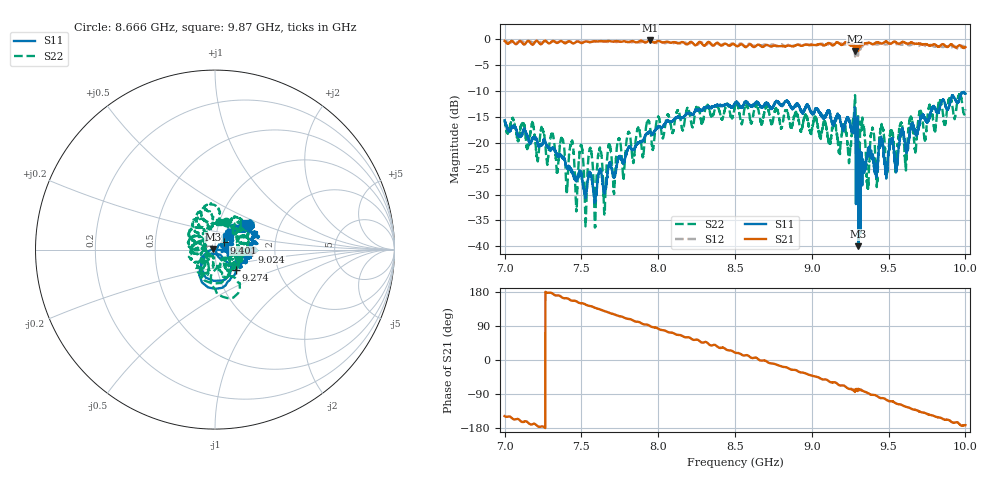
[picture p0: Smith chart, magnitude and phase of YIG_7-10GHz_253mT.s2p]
#  HZ  S  RI  R  50.0
! Rohde & Schwarz ZVL13 2Ports - Version 3.31 - 1303.6509k13 SN: 101088
! Date: 2023-03-06 15:31:30
! Data & Calibration Information:
! Trc4:S11(TOSM) Trc2:S21(TOSM) Trc3:S12(TOSM) Trc5:S22(TOSM)
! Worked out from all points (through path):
!   4000 points, 7 GHz to 10 GHz, reference 50 ohm
!   highest |S21| = -0.33 dB at 7.945 GHz (marker M1); lowest = -2.4 dB at 9.282 GHz (marker M2)
!   group delay of S21, straight-line fit = 357 ps
!   lowest |S11| = -39.9 dB at 9.303 GHz (marker M3), VSWR 1.02, Z = 49.1 + j0.306 ohm
!   |S11| at or under -10 dB: start of sweep to end of sweep
!   |S22| runs from -36.4 to -10.6 dB; largest |S21 - S12| = 0.11
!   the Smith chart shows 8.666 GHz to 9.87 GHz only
!   S11 on the Smith chart (normalised r, x): 8.666 GHz: 1.37, +0.39; 9.024 GHz: 1.52, -0.04; 9.274 GHz: 1.23, -0.28; 9.401 GHz: 1.10, +0.09; 9.87 GHz: 1.33, +0.42
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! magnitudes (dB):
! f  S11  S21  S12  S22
! 7 GHz  -15.7  -0.4  -0.5  -15.6
! 7.436 GHz  -25.3  -0.7  -0.6  -19.9
! 7.467 GHz  -26.9  -0.6  -0.6  -33.2
! 7.5 GHz  -25.9  -0.9  -0.6  -20.6
! 7.589 GHz  -31.1  -0.5  -0.5  -36.1
! 7.619 GHz  -25.3  -0.5  -0.6  -21.2
! 7.65 GHz  -29.5  -0.5  -0.5  -33.9
! 7.68 GHz  -24.3  -0.4  -0.6  -20.4
! 7.945 GHz  -18.1  -0.3  -0.7  -16.5
! 8 GHz  -16.9  -0.4  -0.8  -15.0
! 8.5 GHz  -12.4  -1.2  -1.3  -13.0
! 8.666 GHz  -13.0  -1.4  -1.3  -15.8
! 9 GHz  -14.2  -1.2  -1.0  -17.5
! 9.024 GHz  -13.7  -1.2  -1.2  -15.3
! 9.274 GHz  -15.8  -1.4  -1.4  -15.1
! 9.282 GHz  -14.1  -2.4  -3.4  -11.1
! 9.303 GHz  -39.9  -1.7  -2.0  -17.6
! 9.364 GHz  -22.1  -0.8  -1.1  -28.9
! 9.401 GHz  -23.8  -1.0  -1.0  -17.7
! 9.5 GHz  -22.0  -0.9  -1.0  -21.4
! 9.87 GHz  -12.9  -1.4  -1.4  -16.3
! 10 GHz  -10.6  -1.6  -1.9  -13.6
